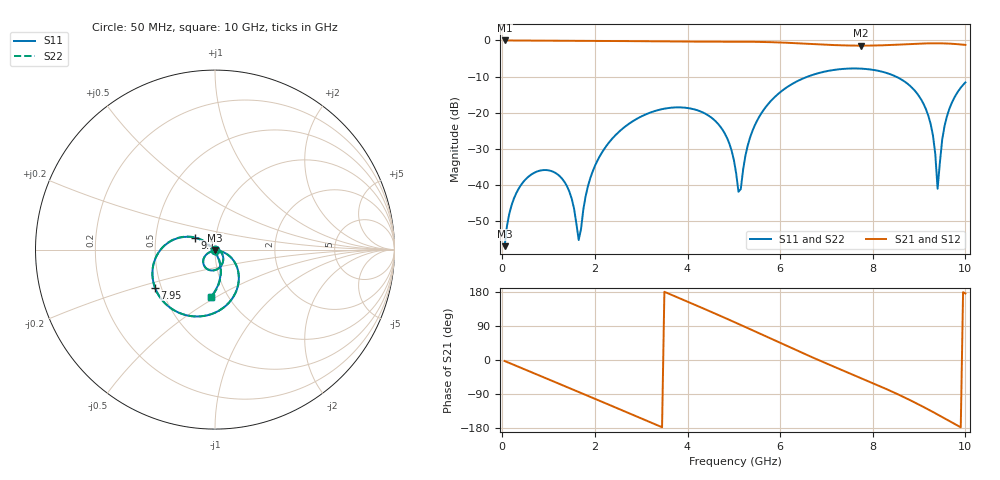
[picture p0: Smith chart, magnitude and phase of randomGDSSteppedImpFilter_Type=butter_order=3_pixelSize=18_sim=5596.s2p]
! freq	dB(S11)	phase(S11)	dB(S12)	phase(S12)
!  dB(S21)	phase(S21)	dB(S22)	phase(S22)
!S-par simulation data
#  GHz  S  DB  R 50
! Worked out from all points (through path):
!   200 points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, 50 MHz to 10 GHz, reference 50 ohm
!   highest |S21| = 0.00 dB at 50 MHz (marker M1); lowest = -1.4 dB at 7.75 GHz (marker M2)
!   group delay of S21, straight-line fit = 149 ps
!   lowest |S11| = -57.0 dB at 50 MHz (marker M3), VSWR 1.00, Z = 50 - j0.136 ohm
!   |S11| at or under -10 dB: start of sweep to 6.599 GHz; 8.498 GHz to end of sweep
!   |S22| runs from -57.0 to -7.8 dB; largest |S21 - S12| = 0
!   S11 on the Smith chart (normalised r, x): 50 MHz: 1.00, -0.00; 7.95 GHz: 0.46, -0.23; 9.1 GHz: 0.79, +0.11; 10 GHz: 0.84, -0.47
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0.05  -57.00 -74.4  -0.00 -2.6  -0.00 -2.6  -57.00 -74.4
0.25  -43.83 -99.8  -0.02 -12.8  -0.02 -12.8  -43.83 -99.8
0.7  -36.60 -126.8  -0.05 -35.8  -0.05 -35.8  -36.60 -126.8
1.35  -39.33 -165.4  -0.08 -69.0  -0.08 -69.0  -39.34 -165.3
1.65  -55.30 107.0  -0.10 -84.4  -0.10 -84.4  -55.42 107.0
1.75  -46.82 21.5  -0.10 -89.5  -0.10 -89.5  -46.83 21.1
2.3  -28.34 -25.2  -0.14 -117.8  -0.14 -117.8  -28.34 -25.2
3.4  -19.18 -83.3  -0.27 -174.8  -0.27 -174.8  -19.18 -83.3
4.55  -21.74 -140.9  -0.34 125.0  -0.34 125.0  -21.74 -140.9
5.05  -36.82 -143.4  -0.34 98.0  -0.34 98.0  -36.81 -143.4
5.15  -41.18 -50.8  -0.34 92.5  -0.34 92.5  -41.17 -51.0
5.35  -26.91 -17.3  -0.37 81.4  -0.37 81.4  -26.91 -17.3
5.7  -18.27 -31.0  -0.44 61.9  -0.44 61.9  -18.27 -31.0
6.7  -9.54 -83.7  -1.00 6.8  -1.00 6.8  -9.54 -83.8
7.75  -7.81 -137.4  -1.44 -47.9  -1.44 -47.9  -7.82 -137.5
7.95  -8.05 -147.6  -1.42 -58.3  -1.42 -58.3  -8.05 -147.8
8.35  -9.23 -168.6  -1.28 -79.8  -1.28 -79.8  -9.23 -168.8
9.1  -17.67 149.5  -0.84 -124.2  -0.84 -124.2  -17.68 148.7
9.3  -26.35 142.2  -0.79 -137.2  -0.79 -137.2  -26.41 140.0
9.4  -41.10 -163.5  -0.79 -143.9  -0.79 -143.9  -42.77 -166.5
9.6  -21.09 -71.2  -0.85 -157.3  -0.85 -157.3  -21.10 -70.0
10  -11.63 -94.8  -1.23 175.6  -1.23 175.6  -11.62 -94.4
